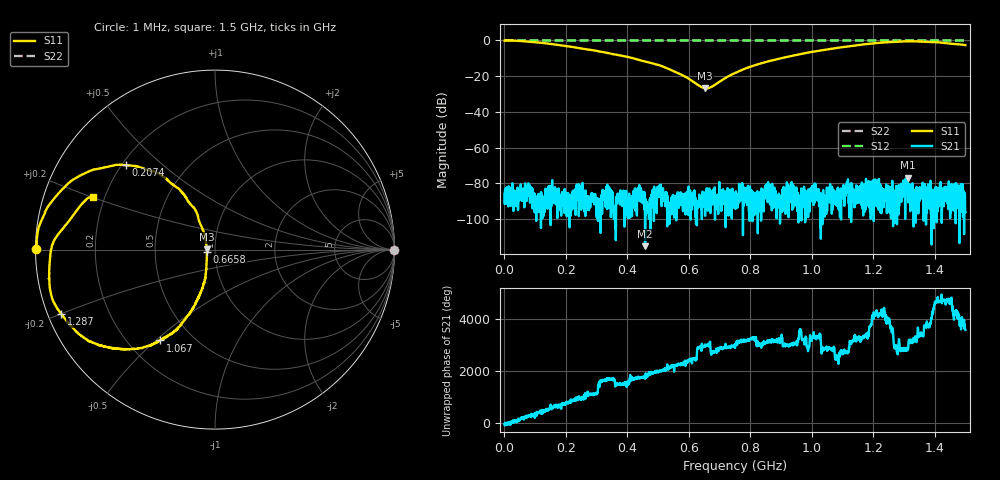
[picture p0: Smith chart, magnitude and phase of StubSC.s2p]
! Anritsu VNA Master:  Model: MS2025B
! SN:  1642059
! /bd0/PROE/TP1/P2/StubSC.s2p
! Existing Calibration Information:
! TYPE:  Current Settings,  Active Cal Settings
! TIME:  04/23/2024 09:37:19 AM,  03/12/2018 12:18:37 PM
! INTERNAL TEMP:  44.0 C,  41.3 C
! # POINTS:  2143,  4001
! START FREQ:  1.000 MHz,  1.000 MHz
! STOP FREQ:  1.499 864 500 GHz,  2.800 GHz
! SOURCE POWER:  Default,  Default
! IFBW:  1 kHz,  1 kHz
! AVG FACTOR:  1 ,  1
! REF PLANE 1:  0 mm,  0 mm
! REF PLANE 2:  0 mm,  0 mm
! CAL TYPE:  1P2P S11,S21,  1P2P S11,S21
! CAL METHOD:  SOLT,  SOLT
! CAL LINE TYPE:  Coax,  Coax
! DUT PORT 1:  ,
! DUT PORT 2:  N-Conn(M),  N-Conn(M)
! CAL STATUS:  OK: Accuracy High,  --
# GHZ S MA R 50.0
! FREQ.GHZ  S11M  S11A  S21M  S21A  S12M  S12A  S22M  S22A
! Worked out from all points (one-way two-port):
!   2143 points, 1 MHz to 1.5 GHz, reference 50 ohm
!   highest |S21| = -76.74 dB at 1.312 GHz (marker M1); lowest = -115.2 dB at 457.9 MHz (marker M2)
!   lowest |S11| = -26.8 dB at 653.2 MHz (marker M3), VSWR 1.10, Z = 45.6 + j0.237 ohm
!   |S11| at or under -10 dB: 419.7 MHz to 898.4 MHz (478.6 MHz wide, 72.6 % of centre)
!   |S22| runs from 0.0 to 0.0 dB; largest |S21 - S12| = 1
!   S11 on the Smith chart (normalised r, x): 1 MHz: 0.00, +0.00; 207.4 MHz: 0.22, +0.38; 665.8 MHz: 0.91, -0.02; 1.067 GHz: 0.33, -0.52; 1.287 GHz: 0.04, -0.20; 1.5 GHz: 0.16, +0.20
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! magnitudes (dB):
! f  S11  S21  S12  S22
! 1 MHz  0.0  -85.9  0.0  0.0
! 103.9 MHz  -1.0  -101.1  0.0  0.0
! 207.4 MHz  -3.3  -93.3  0.0  0.0
! 250.8 MHz  -4.5  -82.7  0.0  0.0
! 390.8 MHz  -8.8  -104.2  0.0  0.0
! 457.9 MHz  -11.8  -115.2  0.0  0.0
! 500.6 MHz  -13.7  -82.9  0.0  0.0
! 574.8 MHz  -19.1  -92.2  0.0  0.0
! 637.1 MHz  -25.7  -89.4  0.0  0.0
! 653.2 MHz  -26.8  -98.2  0.0  0.0
! 665.8 MHz  -26.6  -85.9  0.0  0.0
! 750.4 MHz  -18.2  -89.7  0.0  0.0
! 793.8 MHz  -15.1  -85.3  0.0  0.0
! 858.2 MHz  -11.7  -79.3  0.0  0.0
! 1 GHz  -6.4  -86.3  0.0  0.0
! 1.067 GHz  -4.6  -95.1  0.0  0.0
! 1.212 GHz  -1.5  -81.8  0.0  0.0
! 1.25 GHz  -1.0  -86.1  0.0  0.0
! 1.287 GHz  -0.6  -86.2  0.0  0.0
! 1.312 GHz  -0.5  -76.7  0.0  0.0
! 1.403 GHz  -0.9  -82.8  0.0  0.0
! 1.5 GHz  -2.6  -96.3  0.0  0.0
